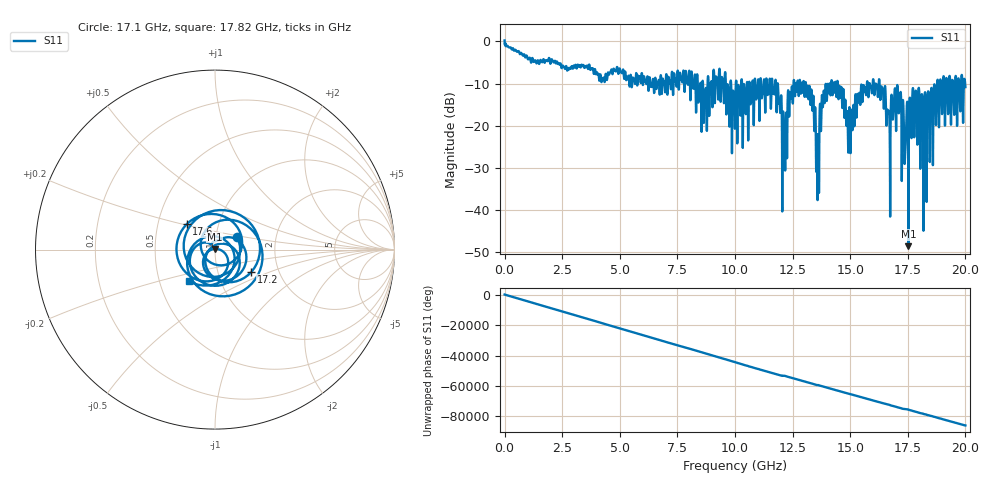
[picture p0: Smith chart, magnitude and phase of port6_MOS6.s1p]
! MS46122B
! 2250307/22442219
! 6/11/2025 1:23:23 PM
! C:\USERS\SPARKY\DOCUMENTS\VNA_DATA\JUNE11_2025\PORT6.S1P
! CHANNEL.1
! TR.MEASUREMENT
! RAW.DATA
# GHZ S RI R 50.0
! FREQ.GHZ  S11RE  S11IM
!; PortSelection: Port_1
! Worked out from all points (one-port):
!   10001 points, 1 MHz to 20 GHz, reference 50 ohm
!   lowest |S11| = -48.5 dB at 17.53 GHz (marker M1), VSWR 1.01, Z = 50 + j0.372 ohm
!   |S11| at or under -10 dB: 13.08 GHz to 14.1 GHz (1.026 GHz wide, 7.55 % of centre); 14.46 GHz to 15.73 GHz (1.265 GHz wide, 8.38 % of centre); 16.27 GHz to 18.77 GHz (2.498 GHz wide, 14.3 % of centre) (the widest 3 of 76)
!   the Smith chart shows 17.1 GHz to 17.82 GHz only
!   S11 on the Smith chart (normalised r, x): 17.1 GHz: 1.27, +0.18; 17.2 GHz: 1.45, -0.38; 17.6 GHz: 0.70, +0.21; 17.82 GHz: 0.71, -0.26
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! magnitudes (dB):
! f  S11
! 1 MHz  0.2
! 2.501 GHz  -5.9
! 5.001 GHz  -6.5
! 7.501 GHz  -7.3
! 10 GHz  -20.6
! 11.68 GHz  -11.6
! 11.93 GHz  -14.1
! 12.13 GHz  -30.4
! 12.5 GHz  -14.0
! 13.24 GHz  -10.6
! 13.58 GHz  -29.7
! 13.77 GHz  -12.9
! 14.11 GHz  -10.0
! 14.62 GHz  -11.0
! 15 GHz  -22.3
! 15.66 GHz  -10.9
! 16.33 GHz  -12.0
! 16.66 GHz  -16.9
! 17.1 GHz  -16.9
! 17.2 GHz  -12.5
! 17.33 GHz  -19.9
! 17.5 GHz  -16.9
! 17.53 GHz  -48.5
! 17.6 GHz  -13.5
! 17.82 GHz  -12.8
! 18.25 GHz  -12.1
! 18.85 GHz  -20.4
! 20 GHz  -10.8
